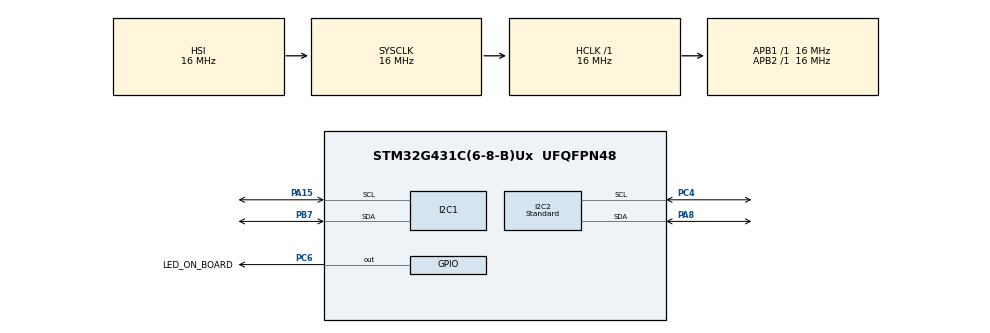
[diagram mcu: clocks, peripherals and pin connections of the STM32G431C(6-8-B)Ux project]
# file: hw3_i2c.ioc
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I2C1.Timing=0x00503D58
I2C2.I2C_Speed_Mode=I2C_Standard
I2C2.OwnAddress=10
I2C2.Timing=0x00503D58
Mcu.Family=STM32G4
Mcu.Name=STM32G431C(6-8-B)Ux
Mcu.Package=UFQFPN48
NVIC.I2C1_EV_IRQn=true\:6\:0\:true\:false\:true\:true\:true\:true
NVIC.I2C2_EV_IRQn=true\:5\:0\:true\:false\:true\:true\:true\:true
NVIC.PriorityGroup=NVIC_PRIORITYGROUP_4
PA13.Mode=Serial_Wire
PA13.Signal=SYS_JTMS-SWDIO
PA14.Mode=Serial_Wire
PA14.Signal=SYS_JTCK-SWCLK
PA15.GPIO_Pu=GPIO_PULLUP
PA15.GPIO_Speed=GPIO_SPEED_FREQ_LOW
PA15.Mode=I2C
PA15.Signal=I2C1_SCL
PA8.GPIO_Speed=GPIO_SPEED_FREQ_LOW
PA8.Mode=I2C
PA8.Signal=I2C2_SDA
PB7.GPIO_Pu=GPIO_PULLUP
PB7.GPIO_Speed=GPIO_SPEED_FREQ_LOW
PB7.Mode=I2C
PB7.Signal=I2C1_SDA
PC14-OSC32_IN.Mode=LSE-External-Oscillator
PC14-OSC32_IN.Signal=RCC_OSC32_IN
PC15-OSC32_OUT.Mode=LSE-External-Oscillator
PC15-OSC32_OUT.Signal=RCC_OSC32_OUT
PC4.GPIO_Speed=GPIO_SPEED_FREQ_LOW
PC4.Mode=I2C
PC4.Signal=I2C2_SCL
PC6.GPIO_Label=LED_ON_BOARD
PC6.Signal=GPIO_Output
PF0-OSC_IN.Mode=HSE-External-Oscillator
PF0-OSC_IN.Signal=RCC_OSC_IN
PF1-OSC_OUT.Mode=HSE-External-Oscillator
PF1-OSC_OUT.Signal=RCC_OSC_OUT
ProjectManager.HeapSize=0x200
ProjectManager.StackSize=0x400
ProjectManager.TargetToolchain=STM32CubeIDE
RCC.AHBFreq_Value=16000000
RCC.APB1Freq_Value=16000000
RCC.APB1TimFreq_Value=16000000
RCC.APB2Freq_Value=16000000
RCC.APB2TimFreq_Value=16000000
RCC.CortexFreq_Value=16000000
RCC.EXTERNAL_CLOCK_VALUE=12288000
RCC.HCLKFreq_Value=16000000
RCC.HSE_VALUE=8000000
RCC.HSI48_VALUE=48000000
RCC.HSI_VALUE=16000000
RCC.SYSCLKFreq_VALUE=16000000
RCC.USBFreq_Value=64000000
RCC.VCOOutputFreq_Value=128000000
VP_SYS_VS_DBSignals.Mode=DisableDeadBatterySignals
board=custom

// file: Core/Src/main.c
/* USER CODE BEGIN Header */
/**
  ******************************************************************************
  * @file           : main.c
  * @brief          : Main program body
  ******************************************************************************
  * @attention
  *
  * Copyright (c) 2025 STMicroelectronics.
  * All rights reserved.
  *
  * This software is licensed under terms that can be found in the LICENSE file
  * in the root directory of this software component.
  * If no LICENSE file comes with this software, it is provided AS-IS.
  *
  ******************************************************************************
  */
/* USER CODE END Header */
#include "main.h"

/* USER CODE BEGIN Includes */
#include <string.h>
/* USER CODE END Includes */

/* USER CODE BEGIN PD */
#define I2C_BUF_SIZE	15
/* USER CODE END PD */

I2C_HandleTypeDef hi2c1;
I2C_HandleTypeDef hi2c2;

/* USER CODE BEGIN PV */
uint8_t i2c1_tx_buf[I2C_BUF_SIZE] = "Hello I2C2";
uint8_t i2c2_rx_buf[I2C_BUF_SIZE] = {0};

volatile uint8_t tx_flag = 0;
volatile uint8_t rx_flag = 0;
/* USER CODE END PV */

void SystemClock_Config(void);
static void MX_GPIO_Init(void);
static void MX_I2C1_Init(void);
static void MX_I2C2_Init(void);
/* USER CODE BEGIN PFP */
void HAL_I2C_MasterTxCpltCallback(I2C_HandleTypeDef *hi2c);
void HAL_I2C_SlaveRxCpltCallback(I2C_HandleTypeDef *hi2c);
/* USER CODE END PFP */

int main(void)
{

  /* MCU Configuration--------------------------------------------------------*/

  /* Reset of all peripherals, Initializes the Flash interface and the Systick. */
  HAL_Init();

  /* Configure the system clock */
  SystemClock_Config();

  /* Initialize all configured peripherals */
  MX_GPIO_Init();
  MX_I2C1_Init();
  MX_I2C2_Init();
  /* USER CODE BEGIN 2 */
  HAL_I2C_Slave_Receive_IT(&hi2c2, i2c2_rx_buf, strlen((char*)i2c1_tx_buf));
  HAL_I2C_Master_Transmit_IT(&hi2c1, 20, i2c1_tx_buf, strlen((char*)i2c1_tx_buf));
  /* USER CODE END 2 */

  /* Infinite loop */
  while (1)
  {

  }
}

void SystemClock_Config(void)
{
  RCC_OscInitTypeDef RCC_OscInitStruct = {0};
  RCC_ClkInitTypeDef RCC_ClkInitStruct = {0};

  /** Configure the main internal regulator output voltage
  */
  HAL_PWREx_ControlVoltageScaling(PWR_REGULATOR_VOLTAGE_SCALE1);

  /** Initializes the RCC Oscillators according to the specified parameters
  * in the RCC_OscInitTypeDef structure.
  */
  RCC_OscInitStruct.OscillatorType = RCC_OSCILLATORTYPE_HSI;
  RCC_OscInitStruct.HSIState = RCC_HSI_ON;
  RCC_OscInitStruct.HSICalibrationValue = RCC_HSICALIBRATION_DEFAULT;
  RCC_OscInitStruct.PLL.PLLState = RCC_PLL_NONE;
  if (HAL_RCC_OscConfig(&RCC_OscInitStruct) != HAL_OK)
  {
    Error_Handler();
  }

  /** Initializes the CPU, AHB and APB buses clocks
  */
  RCC_ClkInitStruct.ClockType = RCC_CLOCKTYPE_HCLK|RCC_CLOCKTYPE_SYSCLK
                              |RCC_CLOCKTYPE_PCLK1|RCC_CLOCKTYPE_PCLK2;
  RCC_ClkInitStruct.SYSCLKSource = RCC_SYSCLKSOURCE_HSI;
  RCC_ClkInitStruct.AHBCLKDivider = RCC_SYSCLK_DIV1;
  RCC_ClkInitStruct.APB1CLKDivider = RCC_HCLK_DIV1;
  RCC_ClkInitStruct.APB2CLKDivider = RCC_HCLK_DIV1;

  if (HAL_RCC_ClockConfig(&RCC_ClkInitStruct, FLASH_LATENCY_0) != HAL_OK)
  {
    Error_Handler();
  }
}

static void MX_I2C1_Init(void)
{

  hi2c1.Instance = I2C1;
  hi2c1.Init.Timing = 0x00503D58;
  hi2c1.Init.OwnAddress1 = 0;
  hi2c1.Init.AddressingMode = I2C_ADDRESSINGMODE_7BIT;
  hi2c1.Init.DualAddressMode = I2C_DUALADDRESS_DISABLE;
  hi2c1.Init.OwnAddress2 = 0;
  hi2c1.Init.OwnAddress2Masks = I2C_OA2_NOMASK;
  hi2c1.Init.GeneralCallMode = I2C_GENERALCALL_DISABLE;
  hi2c1.Init.NoStretchMode = I2C_NOSTRETCH_DISABLE;
  if (HAL_I2C_Init(&hi2c1) != HAL_OK)
  {
    Error_Handler();
  }

  /** Configure Analogue filter
  */
  if (HAL_I2CEx_ConfigAnalogFilter(&hi2c1, I2C_ANALOGFILTER_ENABLE) != HAL_OK)
  {
    Error_Handler();
  }

  /** Configure Digital filter
  */
  if (HAL_I2CEx_ConfigDigitalFilter(&hi2c1, 0) != HAL_OK)
  {
    Error_Handler();
  }

}

static void MX_I2C2_Init(void)
{

  hi2c2.Instance = I2C2;
  hi2c2.Init.Timing = 0x00503D58;
  hi2c2.Init.OwnAddress1 = 20;
  hi2c2.Init.AddressingMode = I2C_ADDRESSINGMODE_7BIT;
  hi2c2.Init.DualAddressMode = I2C_DUALADDRESS_DISABLE;
  hi2c2.Init.OwnAddress2 = 0;
  hi2c2.Init.OwnAddress2Masks = I2C_OA2_NOMASK;
  hi2c2.Init.GeneralCallMode = I2C_GENERALCALL_DISABLE;
  hi2c2.Init.NoStretchMode = I2C_NOSTRETCH_DISABLE;
  if (HAL_I2C_Init(&hi2c2) != HAL_OK)
  {
    Error_Handler();
  }

  /** Configure Analogue filter
  */
  if (HAL_I2CEx_ConfigAnalogFilter(&hi2c2, I2C_ANALOGFILTER_ENABLE) != HAL_OK)
  {
    Error_Handler();
  }

  /** Configure Digital filter
  */
  if (HAL_I2CEx_ConfigDigitalFilter(&hi2c2, 0) != HAL_OK)
  {
    Error_Handler();
  }

}

static void MX_GPIO_Init(void)
{
  GPIO_InitTypeDef GPIO_InitStruct = {0};

  /* GPIO Ports Clock Enable */
  __HAL_RCC_GPIOC_CLK_ENABLE();
  __HAL_RCC_GPIOF_CLK_ENABLE();
  __HAL_RCC_GPIOA_CLK_ENABLE();
  __HAL_RCC_GPIOB_CLK_ENABLE();

  /*Configure GPIO pin Output Level */
  HAL_GPIO_WritePin(LED_ON_BOARD_GPIO_Port, LED_ON_BOARD_Pin, GPIO_PIN_RESET);

  /*Configure GPIO pin : LED_ON_BOARD_Pin */
  GPIO_InitStruct.Pin = LED_ON_BOARD_Pin;
  GPIO_InitStruct.Mode = GPIO_MODE_OUTPUT_PP;
  GPIO_InitStruct.Pull = GPIO_NOPULL;
  GPIO_InitStruct.Speed = GPIO_SPEED_FREQ_LOW;
  HAL_GPIO_Init(LED_ON_BOARD_GPIO_Port, &GPIO_InitStruct);

}

/* USER CODE BEGIN 4 */
//
void HAL_I2C_MasterTxCpltCallback(I2C_HandleTypeDef *hi2c)
{
	if(hi2c == &hi2c1)
		tx_flag = 1;
}
void HAL_I2C_SlaveRxCpltCallback(I2C_HandleTypeDef *hi2c)
{
	if(hi2c == &hi2c2)
		rx_flag = 1;
}

/* USER CODE END 4 */

void Error_Handler(void)
{
  __disable_irq();
  while (1)
  {
  }
}
